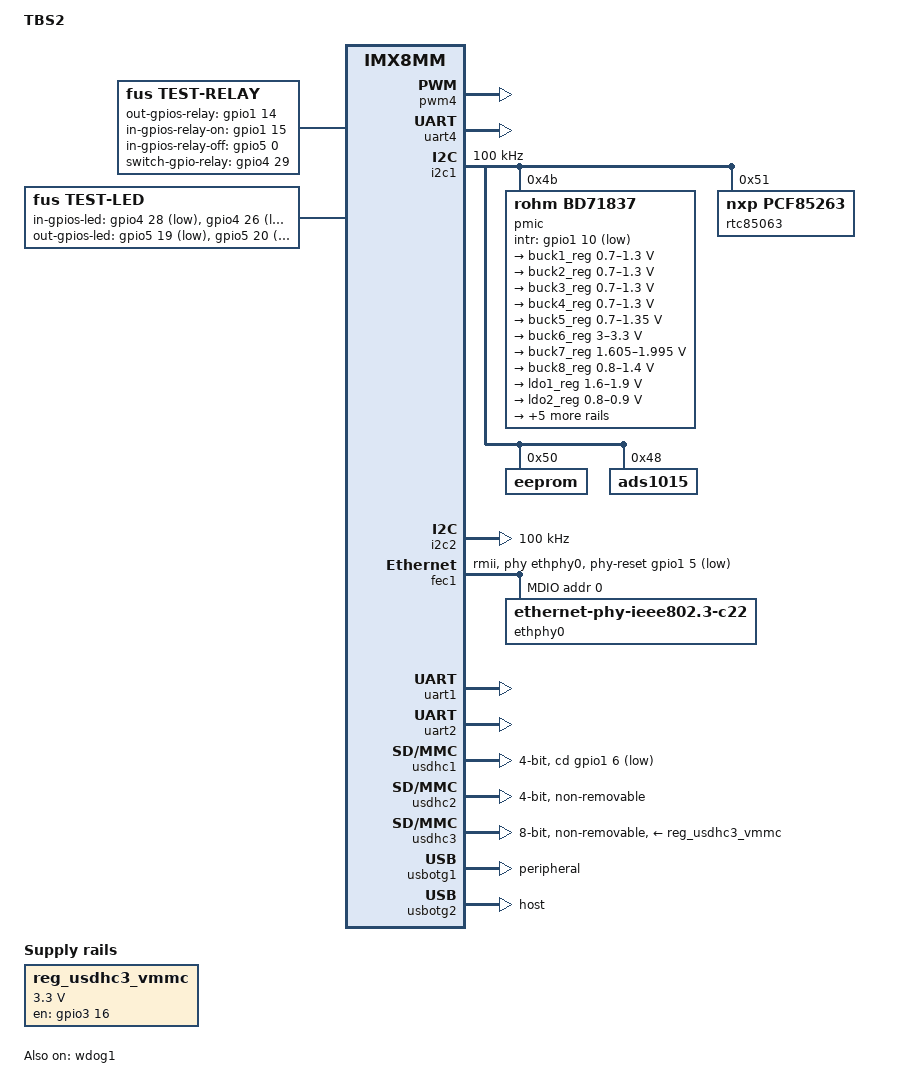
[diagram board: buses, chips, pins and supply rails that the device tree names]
/*
* Copyright 2019-2020 F&S Elektronik Systeme GmbH
*
* This program is free software; you can redistribute it and/or
* modify it under the terms of the GNU General Public License
* as published by the Free Software Foundation; either version 2
* of the License, or (at your option) any later version.
*
* This program is distributed in the hope that it will be useful,
* but WITHOUT ANY WARRANTY; without even the implied warranty of
* MERCHANTABILITY or FITNESS FOR A PARTICULAR PURPOSE.  See the
* GNU General Public License for more details.
*/

/dts-v1/;

#include "fsl-imx8mm.dtsi"

/ {
	model = "TBS2";
	compatible = "fus,tbs2", "fsl,imx8mm";


	chosen {
		bootargs = "console=ttymxc0,115200 earlycon=ec_imx6q,0x30860000,115200";
		stdout-path = &uart1;
	};

	aliases {
		serial3 = &uart4;
	};

	reg_usdhc3_vmmc: regulator-usdhc3 {
		compatible = "regulator-fixed";
		regulator-name = "VSD3_3V3";
		regulator-min-microvolt = <3300000>;
		regulator-max-microvolt = <3300000>;
		gpio = <&gpio3 16 GPIO_ACTIVE_HIGH>;
		enable-active-high;
		startup-delay-us = <100>;
		off-on-delay-us = <12000>;
	};

	pwm4: pwm@30690000 {
		compatible = "fus,test-pwm";
		status = "disabled";
	};

	relay: relay {
		compatible = "fus,test-relay";
		status = "disabled";
	};

	led: led {
		compatible = "fus,test-led";
		status = "disabled";
	};

	uart4: serial@30a60000 {
		compatible = "fsl,imx8mm-uart",
			     "fsl,imx6q-uart", "fsl,imx21-uart";
		reg = <0x0 0x30a60000 0x0 0x10000>;
		interrupts = <GIC_SPI 29 IRQ_TYPE_LEVEL_HIGH>;
		interrupt-parent = <&gpc>;
		clocks = <&clk IMX8MM_CLK_UART4_ROOT>,
			<&clk IMX8MM_CLK_UART4_ROOT>;
		clock-names = "ipg", "per";
		status = "disabled";
	};
};

&gpio1 {
	pinctrl-names = "gpiotest";
	pinctrl-0 = <&pinctrl_gpio1>;
	out-pins = "GPO", "WIEGAND_OUT2", "TCS400_GPI1", "TCS400_GPO0", "TCS400_GPO2";
	out-gpios = <&gpio1 8 0>, <&gpio5 6 0>, <&gpio5 10 0>, <&gpio3 21 0>, <&gpio3 23 0>;
	in-pins = "CROSSMATCH_RC", "WIEGAND_OUT1", "TCS400_GPI0", "TCS400_GPO1", "TCS400_GPO3";
	in-gpios = <&gpio1 9 0>, <&gpio5 7 0>, <&gpio5 11 0>, <&gpio3 22 0>, <&gpio3 24 0>;
	status = "okay";
};

&i2c1 {
	clock-frequency = <100000>;
	pinctrl-names = "default";
	pinctrl-0 = <&pinctrl_i2c1>;
	status = "okay";

pmic: bd71837@4b {
		reg = <0x4b>;
		compatible = "rohm,bd71837";
		/* PMIC BD71837 PMIC_nINT GPIO3_IO24 */
		pinctrl-0 = <&pinctrl_pmic>;
		gpio_intr = <&gpio1 10 GPIO_ACTIVE_LOW>;

		gpo {
			rohm,drv = <0x0C>;	/* 0b0000_1100 all gpos with cmos output mode */
		};

		regulators {
			#address-cells = <1>;
			#size-cells = <0>;

			bd71837,pmic-buck2-uses-i2c-dvs;
			bd71837,pmic-buck2-dvs-voltage = <1000000>, <900000>, <0>; /* VDD_ARM: Run-Idle */

			buck1_reg: regulator@0 {
				reg = <0>;
				regulator-compatible = "buck1";
				regulator-min-microvolt = <700000>;
				regulator-max-microvolt = <1300000>;
				regulator-boot-on;
				regulator-always-on;
				regulator-ramp-delay = <1250>;
			};

			buck2_reg: regulator@1 {
				reg = <1>;
				regulator-compatible = "buck2";
				regulator-min-microvolt = <700000>;
				regulator-max-microvolt = <1300000>;
				regulator-boot-on;
				regulator-always-on;
				regulator-ramp-delay = <1250>;
			};

			buck3_reg: regulator@2 {
				reg = <2>;
				regulator-compatible = "buck3";
				regulator-min-microvolt = <700000>;
				regulator-max-microvolt = <1300000>;
			};

			buck4_reg: regulator@3 {
				reg = <3>;
				regulator-compatible = "buck4";
				regulator-min-microvolt = <700000>;
				regulator-max-microvolt = <1300000>;
			};

			buck5_reg: regulator@4 {
				reg = <4>;
				regulator-compatible = "buck5";
				regulator-min-microvolt = <700000>;
				regulator-max-microvolt = <1350000>;
				regulator-boot-on;
				regulator-always-on;
			};

			buck6_reg: regulator@5 {
				reg = <5>;
				regulator-compatible = "buck6";
				regulator-min-microvolt = <3000000>;
				regulator-max-microvolt = <3300000>;
				regulator-boot-on;
				regulator-always-on;
			};

			buck7_reg: regulator@6 {
				reg = <6>;
				regulator-compatible = "buck7";
				regulator-min-microvolt = <1605000>;
				regulator-max-microvolt = <1995000>;
				regulator-boot-on;
				regulator-always-on;
			};

			buck8_reg: regulator@7 {
				reg = <7>;
				regulator-compatible = "buck8";
				regulator-min-microvolt = <800000>;
				regulator-max-microvolt = <1400000>;
				regulator-boot-on;
				regulator-always-on;
			};

			ldo1_reg: regulator@8 {
				reg = <8>;
				regulator-compatible = "ldo1";
				regulator-min-microvolt = <1600000>;
				regulator-max-microvolt = <1900000>;
				regulator-boot-on;
				regulator-always-on;
			};

			ldo2_reg: regulator@9 {
				reg = <9>;
				regulator-compatible = "ldo2";
				regulator-min-microvolt = <800000>;
				regulator-max-microvolt = <900000>;
				regulator-boot-on;
				regulator-always-on;
			};

			ldo3_reg: regulator@10 {
				reg = <10>;
				regulator-compatible = "ldo3";
				regulator-min-microvolt = <1800000>;
				regulator-max-microvolt = <3300000>;
				regulator-boot-on;
				regulator-always-on;
			};

			ldo4_reg: regulator@11 {
				reg = <11>;
				regulator-compatible = "ldo4";
				regulator-min-microvolt = <900000>;
				regulator-max-microvolt = <1800000>;
				regulator-boot-on;
				regulator-always-on;
			};

			ldo5_reg: regulator@12 {
				reg = <12>;
				regulator-compatible = "ldo5";
				regulator-min-microvolt = <1800000>;
				regulator-max-microvolt = <3300000>;
			};

			ldo6_reg: regulator@13 {
				reg = <13>;
				regulator-compatible = "ldo6";
				regulator-min-microvolt = <900000>;
				regulator-max-microvolt = <1800000>;
				regulator-boot-on;
				regulator-always-on;
			};

			ldo7_reg: regulator@14 {
				reg = <14>;
				regulator-compatible = "ldo7";
				regulator-min-microvolt = <1800000>;
				regulator-max-microvolt = <3300000>;
			};
		};
	};

	rtc85063@51 {
		compatible = "nxp,pcf85263";
		reg = <0x51>;
		status = "okay";
	};

	/* EEPROM */
	eeprom: eeprom@50 {
		reg = <0x50>;
		status = "okay";
	};

	/* ADC Chip */
	ads1015: ads1015@48 {
		reg = <0x48>;
		status = "okay";
	};
};

&i2c2 {
	clock-frequency = <100000>;
	pinctrl-names = "default";
	pinctrl-0 = <&pinctrl_i2c2>;
	status = "okay";
};


&fec1 {
	pinctrl-names = "default";
	pinctrl-0 = <&pinctrl_fec1>;
	phy-mode = "rmii";
	phy-handle = <&ethphy0>;
	fsl,magic-packet;
	status = "okay";
	phy-reset-gpios = <&gpio1 5 GPIO_ACTIVE_LOW>;
	phy-reset-duration = <50>;
	phy-reset-post-delay = <200>;

	mdio {
		#address-cells = <1>;
		#size-cells = <0>;

		ethphy0: ethernet-phy@0 {
			compatible = "ethernet-phy-ieee802.3-c22";
			reg = <0>;
		};
	};
};

&uart1 { /* console */
	pinctrl-names = "default", "mute";
	pinctrl-0 = <&pinctrl_uart1>;
	pinctrl-1 = <&pinctrl_uart1_gpio>;
	status = "okay";
	port-name="uart1";
	debug-port;
};

&uart2 {
	pinctrl-names = "default", "mute";
	pinctrl-0 = <&pinctrl_uart2>;
	pinctrl-1 = <&pinctrl_uart2_gpio>;
	status = "okay";
	port-name="RFID";
};

&uart4 {
	pinctrl-names = "default", "mute";
	pinctrl-0 = <&pinctrl_uart4>;
	pinctrl-1 = <&pinctrl_uart4_gpio>;
	rs485-cts-pin = <&gpio5 12 GPIO_ACTIVE_HIGH>;
	status = "okay";
	port-name="uart4";
};

&pwm4 {
	pinctrl-names = "pwmgpio";
	pinctrl-0 = <&pinctrl_pwm4_gpio>;
	gpio = <&gpio5 18 GPIO_ACTIVE_HIGH>;
	freqs = <1000>,<0>,<2000>; //Hz
	times = <250>,<500>,<500>; //msec
	status = "okay";
};

&relay {
	pinctrl-names = "relaygpio";
	pinctrl-0 = <&pinctrl_relay_gpio>;
	out-pins-relay = "RELAY_COM";
	out-gpios-relay = <&gpio1 14 GPIO_ACTIVE_HIGH>;
	in-pins-relay-on = "RELAY_NO";
	in-gpios-relay-on = <&gpio1 15 GPIO_ACTIVE_HIGH>;
	in-pins-relay-off = "RELAY_NC";
	in-gpios-relay-off = <&gpio5 0 GPIO_ACTIVE_HIGH>;

	switch-pin-relay = "RELAY";
	switch-gpio-relay = <&gpio4 29 GPIO_ACTIVE_HIGH>;
	status = "okay";
};

&led {
	pinctrl-names = "ledgpio";
	pinctrl-0 = <&pinctrl_led_gpio>;
	in-pins-led = "LEDBLUE_Test", "LEDGREEN_Test", "LEDRED_Test", "LEDSTATUS_Test";
	in-gpios-led = <&gpio4 28 GPIO_ACTIVE_LOW>, <&gpio4 26 GPIO_ACTIVE_LOW>, <&gpio4 27 GPIO_ACTIVE_LOW>, <&gpio4 30 GPIO_ACTIVE_LOW>;
	out-pins-led = "LEDBLUE_PWM", "LEDGREEN_PWM", "LEDRED_PWM", "LEDSTATUS_GPIO";
	out-gpios-led = <&gpio5 19 GPIO_ACTIVE_LOW>, <&gpio5 20 GPIO_ACTIVE_LOW>, <&gpio5 21 GPIO_ACTIVE_LOW>, <&gpio5 2 GPIO_ACTIVE_LOW>;
	is-inverted;
	status = "okay";
};

/* micro SD */
&usdhc1 {
	pinctrl-names = "default", "state_100mhz", "state_200mhz";
	pinctrl-0 = <&pinctrl_usdhc1>, <&pinctrl_usdhc1_gpio>;
	pinctrl-1 = <&pinctrl_usdhc1_100mhz>, <&pinctrl_usdhc1_gpio>;
	pinctrl-2 = <&pinctrl_usdhc1_200mhz>, <&pinctrl_usdhc1_gpio>;
	bus-width = <4>;
	cd-gpios = <&gpio1 6 GPIO_ACTIVE_LOW>;
	status = "okay";
	is-sdcard;
};

/* WLAN */
&usdhc2 {
	pinctrl-names = "default", "state_100mhz", "state_200mhz";
	pinctrl-0 = <&pinctrl_usdhc2>, <&pinctrl_usdhc2_gpio>;
	pinctrl-1 = <&pinctrl_usdhc2_100mhz>, <&pinctrl_usdhc2_gpio>;
	pinctrl-2 = <&pinctrl_usdhc2_200mhz>, <&pinctrl_usdhc2_gpio>;
	bus-width = <4>;
	non-removable;
	//vmmc-supply = <&reg_usdhc2_vmmc>;
	status = "okay";
	is-wlan;
};

/* eMMC */
&usdhc3 {
	pinctrl-names = "default", "state_100mhz", "state_200mhz";
	pinctrl-0 = <&pinctrl_usdhc3>;
	pinctrl-1 = <&pinctrl_usdhc3_100mhz>;
	pinctrl-2 = <&pinctrl_usdhc3_200mhz>;
	bus-width = <8>;
	non-removable;
	vmmc-supply = <&reg_usdhc3_vmmc>;
	status = "okay";
	is-emmc;
};

&wdog1 {
	pinctrl-names = "default";
	pinctrl-0 = <&pinctrl_wdog>;
	fsl,ext-reset-output;
	status = "okay";
};

&A53_0 {
	arm-supply = <&buck2_reg>;
};

&usbotg1 {
	dr_mode = "peripheral";
	pinctrl-names = "default";
	pinctrl-0 = <&pinctrl_usbotg1>;
	status = "okay";
};

&usbotg2 {
	dr_mode = "host";
	status = "okay";
};

&lcdif {
	status = "disabled";
};

&iomuxc {
	pinctrl-names = "default";
	pinctrl-0 = <&pinctrl_hog_1>;

	tbs2 {
		pinctrl_hog_1: hoggrp-1 {
			fsl,pins = <
			MX8MM_IOMUXC_NAND_READY_B_GPIO3_IO16		0x00019
			>;
		};

		pinctrl_fec1: fec1grp {
			fsl,pins = <
			MX8MM_IOMUXC_ENET_MDC_ENET1_MDC				0x00003
			MX8MM_IOMUXC_ENET_MDIO_ENET1_MDIO			0x00003
			MX8MM_IOMUXC_ENET_TD2_ENET1_TX_CLK			0x4000001f
			MX8MM_IOMUXC_ENET_TD1_ENET1_RGMII_TD1		0x00056
			MX8MM_IOMUXC_ENET_TD0_ENET1_RGMII_TD0		0x00056
			MX8MM_IOMUXC_ENET_RD1_ENET1_RGMII_RD1		0x00056
			MX8MM_IOMUXC_ENET_RD0_ENET1_RGMII_RD0		0x00056
			MX8MM_IOMUXC_ENET_RXC_ENET1_RX_ER			0x00056
			MX8MM_IOMUXC_ENET_RX_CTL_ENET1_RGMII_RX_CTL	0x00056
			MX8MM_IOMUXC_ENET_TX_CTL_ENET1_RGMII_TX_CTL	0x00056
			/* ETH_SW_RST  */
			MX8MM_IOMUXC_GPIO1_IO05_GPIO1_IO5			0x00019
			/* IRQn */
			MX8MM_IOMUXC_GPIO1_IO11_GPIO1_IO11			0x00019
			>;
		};

		pinctrl_gpio1: gpio1grp {
			fsl,pins = <
				/* GPO -> CROSSMATCH_RC */
				MX8MM_IOMUXC_GPIO1_IO08_GPIO1_IO8		0x00149
				MX8MM_IOMUXC_GPIO1_IO09_GPIO1_IO9		0x00029
				/* WIEGAND_OUT2 -> WIEGAND_OUT1 */
				MX8MM_IOMUXC_ECSPI1_SCLK_GPIO5_IO6		0x00149
				MX8MM_IOMUXC_ECSPI1_MOSI_GPIO5_IO7		0x00029
				/* TCS400_GPI1 -> TCS400_GPI0 */
				MX8MM_IOMUXC_ECSPI2_SCLK_GPIO5_IO10		0x00149
				MX8MM_IOMUXC_ECSPI2_MOSI_GPIO5_IO11		0x00029
				/* TCS400_GPO0 -> TCS400_GPO1 */
				MX8MM_IOMUXC_SAI5_RXD0_GPIO3_IO21		0x00149
				MX8MM_IOMUXC_SAI5_RXD1_GPIO3_IO22		0x00029
				/* TCS400_GPO2 -> TCS400_GPO3 */
				MX8MM_IOMUXC_SAI5_RXD2_GPIO3_IO23		0x00149
				MX8MM_IOMUXC_SAI5_RXD3_GPIO3_IO24		0x00029
			>;
		};

		pinctrl_i2c1: i2c1grp {
			fsl,pins = <
			MX8MM_IOMUXC_I2C1_SCL_I2C1_SCL				0x400001c3
			MX8MM_IOMUXC_I2C1_SDA_I2C1_SDA				0x400001c3
			>;
		};

		pinctrl_i2c2: i2c2grp {
			fsl,pins = <
			MX8MM_IOMUXC_I2C2_SCL_I2C2_SCL				0x400001c3
			MX8MM_IOMUXC_I2C2_SDA_I2C2_SDA				0x400001c3
			>;
		};

		pinctrl_pmic: pmicirq {
			fsl,pins = <
			MX8MM_IOMUXC_GPIO1_IO10_GPIO1_IO10			0x00041
			>;
		};

		pinctrl_uart1: uart1grp {
			fsl,pins = <
			MX8MM_IOMUXC_SAI2_RXC_UART1_DCE_RX			0x00049
			MX8MM_IOMUXC_SAI2_RXFS_UART1_DCE_TX			0x00049
			>;
		};

		pinctrl_uart1_gpio: uart1gpiogrp {
			fsl,pins = <
				MX8MM_IOMUXC_SAI2_RXFS_GPIO4_IO21		0x00149
				MX8MM_IOMUXC_SAI2_RXC_GPIO4_IO22		0x00149
			>;
		};

		pinctrl_uart2: uart2grp {
			fsl,pins = <
			MX8MM_IOMUXC_UART2_RXD_UART2_DCE_RX			0x00049
			MX8MM_IOMUXC_UART2_TXD_UART2_DCE_TX			0x00049
			>;
		};

		pinctrl_uart2_gpio: uart2gpiogrp {
			fsl,pins = <
				MX8MM_IOMUXC_UART2_RXD_GPIO5_IO24		0x00149
				MX8MM_IOMUXC_UART2_TXD_GPIO5_IO25		0x00149
			>;
		};

		pinctrl_uart4: uart4grp {
			fsl,pins = <
			MX8MM_IOMUXC_UART4_RXD_UART4_DCE_RX			0x00049
			MX8MM_IOMUXC_UART4_TXD_UART4_DCE_TX			0x00049
			MX8MM_IOMUXC_ECSPI2_MISO_GPIO5_IO12			0x00049
			MX8MM_IOMUXC_ECSPI2_SS0_UART4_DCE_RTS_B		0x00049
			>;
		};

		pinctrl_uart4_gpio: uart4gpiogrp {
			fsl,pins = <
				MX8MM_IOMUXC_UART4_RXD_GPIO5_IO28		0x00149
				MX8MM_IOMUXC_UART4_TXD_GPIO5_IO29		0x00149
				MX8MM_IOMUXC_ECSPI2_MISO_GPIO5_IO12		0x00149
				MX8MM_IOMUXC_ECSPI2_SS0_GPIO5_IO13		0x00149
			>;
		};

		pinctrl_pwm4_gpio: pwm4gpiogrp {
			fsl,pins = <
				MX8MM_IOMUXC_I2C3_SCL_GPIO5_IO18		0x00149
			>;
		};

		pinctrl_relay_gpio: relaygpiogrp {
			fsl,pins = <
				/* RELAY_COM (GPI1) */
				MX8MM_IOMUXC_GPIO1_IO14_GPIO1_IO14		0x00149
				/* RELAY_NO (GPI2) */
				MX8MM_IOMUXC_GPIO1_IO15_GPIO1_IO15		0x00029
				/* RELAY_NC (GPI3) */
				MX8MM_IOMUXC_SAI3_TXC_GPIO5_IO0			0x00029
				/* RELAY (Switch) */
				MX8MM_IOMUXC_SAI3_RXC_GPIO4_IO29		0x00149
			>;
		};

		pinctrl_led_gpio: ledgpiogrp {
			fsl,pins = <
				/* LEDBLUE_PWM */
				MX8MM_IOMUXC_I2C3_SDA_GPIO5_IO19		0x00149
				/* LEDGREEN_PWM */
				MX8MM_IOMUXC_I2C4_SCL_GPIO5_IO20		0x00149
				/* LEDRED_PWM */
				MX8MM_IOMUXC_I2C4_SDA_GPIO5_IO21		0x00149
				/* LEDSTATUS_GPIO */
				MX8MM_IOMUXC_SAI3_MCLK_GPIO5_IO2		0x00149
				/* LEDBLUE_Test */
				MX8MM_IOMUXC_SAI3_RXFS_GPIO4_IO28		0x00029
				/* LEDGREEN_Test */
				MX8MM_IOMUXC_SAI2_TXD0_GPIO4_IO26		0x00029
				/* LEDRED_Test */
				MX8MM_IOMUXC_SAI2_MCLK_GPIO4_IO27		0x00029
				/* LEDSTATUS_Test */
				MX8MM_IOMUXC_SAI3_RXD_GPIO4_IO30		0x00029
			>;
		};

		pinctrl_usbotg1: usbotg1grp {
			fsl,pins = <
			MX8MM_IOMUXC_GPIO1_IO12_USB1_OTG_PWR		0x00014
			>;
		};

		pinctrl_usdhc1_gpio: usdhc1grpgpio {
			fsl,pins = <
			MX8MM_IOMUXC_GPIO1_IO06_USDHC1_CD_B			0x00041
			>;
		};

		pinctrl_usdhc1: usdhc1grp {
			fsl,pins = <
			MX8MM_IOMUXC_SD1_CLK_USDHC1_CLK				0x00190
			MX8MM_IOMUXC_SD1_CMD_USDHC1_CMD				0x001d0
			MX8MM_IOMUXC_SD1_DATA0_USDHC1_DATA0			0x001d0
			MX8MM_IOMUXC_SD1_DATA1_USDHC1_DATA1			0x001d0
			MX8MM_IOMUXC_SD1_DATA2_USDHC1_DATA2			0x001d0
			MX8MM_IOMUXC_SD1_DATA3_USDHC1_DATA3			0x001d0
			MX8MM_IOMUXC_GPIO1_IO03_USDHC1_VSELECT		0x001d0
			>;
		};

		pinctrl_usdhc1_100mhz: usdhc1grp100mhz {
			fsl,pins = <
			MX8MM_IOMUXC_SD1_CLK_USDHC1_CLK				0x00194
			MX8MM_IOMUXC_SD1_CMD_USDHC1_CMD				0x001d4
			MX8MM_IOMUXC_SD1_DATA0_USDHC1_DATA0			0x001d4
			MX8MM_IOMUXC_SD1_DATA1_USDHC1_DATA1			0x001d4
			MX8MM_IOMUXC_SD1_DATA2_USDHC1_DATA2			0x001d4
			MX8MM_IOMUXC_SD1_DATA3_USDHC1_DATA3			0x001d4
			MX8MM_IOMUXC_GPIO1_IO03_USDHC1_VSELECT		0x001d0
			>;
		};

		pinctrl_usdhc1_200mhz: usdhc1grp200mhz {
			fsl,pins = <
			MX8MM_IOMUXC_SD1_CLK_USDHC1_CLK				0x00196
			MX8MM_IOMUXC_SD1_CMD_USDHC1_CMD				0x001d6
			MX8MM_IOMUXC_SD1_DATA0_USDHC1_DATA0			0x001d6
			MX8MM_IOMUXC_SD1_DATA1_USDHC1_DATA1			0x001d6
			MX8MM_IOMUXC_SD1_DATA2_USDHC1_DATA2			0x001d6
			MX8MM_IOMUXC_SD1_DATA3_USDHC1_DATA3			0x001d6
			MX8MM_IOMUXC_GPIO1_IO03_USDHC1_VSELECT		0x001d0
			>;
		};

		pinctrl_usdhc2_gpio: usdhc2grpgpio {
			fsl,pins = <
			MX8MM_IOMUXC_SD2_CD_B_GPIO2_IO12  			0x00041
			MX8MM_IOMUXC_SD2_RESET_B_GPIO2_IO19			0x00041
			>;
		};

		pinctrl_usdhc2: usdhc2grp {
			fsl,pins = <
			MX8MM_IOMUXC_SD2_CLK_USDHC2_CLK				0x00190
			MX8MM_IOMUXC_SD2_CMD_USDHC2_CMD				0x001d0
			MX8MM_IOMUXC_SD2_DATA0_USDHC2_DATA0			0x001d0
			MX8MM_IOMUXC_SD2_DATA1_USDHC2_DATA1			0x001d0
			MX8MM_IOMUXC_SD2_DATA2_USDHC2_DATA2			0x001d0
			MX8MM_IOMUXC_SD2_DATA3_USDHC2_DATA3			0x001d0
			MX8MM_IOMUXC_GPIO1_IO04_USDHC2_VSELECT		0x001d0
			>;
		};

		pinctrl_usdhc2_100mhz: usdhc2grp100mhz {
			fsl,pins = <
			MX8MM_IOMUXC_SD2_CLK_USDHC2_CLK				0x00194
			MX8MM_IOMUXC_SD2_CMD_USDHC2_CMD				0x001d4
			MX8MM_IOMUXC_SD2_DATA0_USDHC2_DATA0			0x001d4
			MX8MM_IOMUXC_SD2_DATA1_USDHC2_DATA1			0x001d4
			MX8MM_IOMUXC_SD2_DATA2_USDHC2_DATA2			0x001d4
			MX8MM_IOMUXC_SD2_DATA3_USDHC2_DATA3			0x001d4
			MX8MM_IOMUXC_GPIO1_IO04_USDHC2_VSELECT		0x001d0
			>;
		};

		pinctrl_usdhc2_200mhz: usdhc2grp200mhz {
			fsl,pins = <
			MX8MM_IOMUXC_SD2_CLK_USDHC2_CLK				0x00196
			MX8MM_IOMUXC_SD2_CMD_USDHC2_CMD				0x001d6
			MX8MM_IOMUXC_SD2_DATA0_USDHC2_DATA0			0x001d6
			MX8MM_IOMUXC_SD2_DATA1_USDHC2_DATA1			0x001d6
			MX8MM_IOMUXC_SD2_DATA2_USDHC2_DATA2			0x001d6
			MX8MM_IOMUXC_SD2_DATA3_USDHC2_DATA3			0x001d6
			MX8MM_IOMUXC_GPIO1_IO04_USDHC2_VSELECT		0x001d0
			>;
		};

		pinctrl_usdhc3: usdhc3grp {
			fsl,pins = <
			MX8MM_IOMUXC_NAND_WE_B_USDHC3_CLK			0x40000190
			MX8MM_IOMUXC_NAND_WP_B_USDHC3_CMD			0x001d0
			MX8MM_IOMUXC_NAND_DATA04_USDHC3_DATA0		0x001d0
			MX8MM_IOMUXC_NAND_DATA05_USDHC3_DATA1		0x001d0
			MX8MM_IOMUXC_NAND_DATA06_USDHC3_DATA2		0x001d0
			MX8MM_IOMUXC_NAND_DATA07_USDHC3_DATA3		0x001d0
			MX8MM_IOMUXC_NAND_RE_B_USDHC3_DATA4			0x001d0
			MX8MM_IOMUXC_NAND_CE2_B_USDHC3_DATA5		0x001d0
			MX8MM_IOMUXC_NAND_CE3_B_USDHC3_DATA6		0x001d0
			MX8MM_IOMUXC_NAND_CLE_USDHC3_DATA7			0x001d0
			MX8MM_IOMUXC_NAND_CE1_B_USDHC3_STROBE 		0x00190
			>;
		};

		pinctrl_usdhc3_100mhz: usdhc3grp100mhz {
			fsl,pins = <
			MX8MM_IOMUXC_NAND_WE_B_USDHC3_CLK			0x40000194
			MX8MM_IOMUXC_NAND_WP_B_USDHC3_CMD			0x001d4
			MX8MM_IOMUXC_NAND_DATA04_USDHC3_DATA0		0x001d4
			MX8MM_IOMUXC_NAND_DATA05_USDHC3_DATA1		0x001d4
			MX8MM_IOMUXC_NAND_DATA06_USDHC3_DATA2		0x001d4
			MX8MM_IOMUXC_NAND_DATA07_USDHC3_DATA3		0x001d4
			MX8MM_IOMUXC_NAND_RE_B_USDHC3_DATA4			0x001d4
			MX8MM_IOMUXC_NAND_CE2_B_USDHC3_DATA5		0x001d4
			MX8MM_IOMUXC_NAND_CE3_B_USDHC3_DATA6		0x001d4
			MX8MM_IOMUXC_NAND_CLE_USDHC3_DATA7			0x001d4
			MX8MM_IOMUXC_NAND_CE1_B_USDHC3_STROBE 		0x00194
			>;
		};

		pinctrl_usdhc3_200mhz: usdhc3grp200mhz {
			fsl,pins = <
			MX8MM_IOMUXC_NAND_WE_B_USDHC3_CLK			0x40000196
			MX8MM_IOMUXC_NAND_WP_B_USDHC3_CMD			0x001d6
			MX8MM_IOMUXC_NAND_DATA04_USDHC3_DATA0		0x001d6
			MX8MM_IOMUXC_NAND_DATA05_USDHC3_DATA1		0x001d6
			MX8MM_IOMUXC_NAND_DATA06_USDHC3_DATA2		0x001d6
			MX8MM_IOMUXC_NAND_DATA07_USDHC3_DATA3		0x001d6
			MX8MM_IOMUXC_NAND_RE_B_USDHC3_DATA4			0x001d6
			MX8MM_IOMUXC_NAND_CE2_B_USDHC3_DATA5		0x001d6
			MX8MM_IOMUXC_NAND_CE3_B_USDHC3_DATA6		0x001d6
			MX8MM_IOMUXC_NAND_CLE_USDHC3_DATA7			0x001d6
			MX8MM_IOMUXC_NAND_CE1_B_USDHC3_STROBE 		0x00196
			>;
		};

		pinctrl_wdog: wdoggrp {
			fsl,pins = <
			MX8MM_IOMUXC_GPIO1_IO02_WDOG1_WDOG_B		0x000c6
			>;
		};
	};
};
